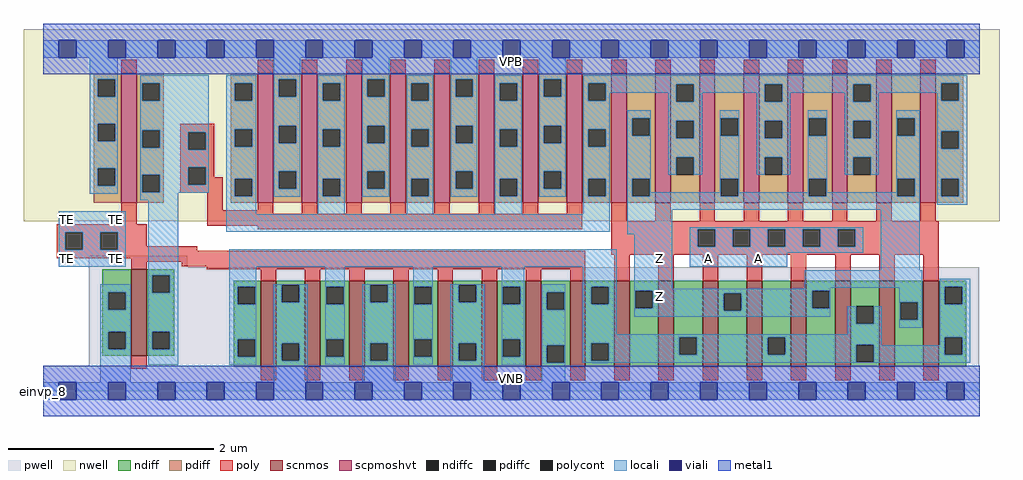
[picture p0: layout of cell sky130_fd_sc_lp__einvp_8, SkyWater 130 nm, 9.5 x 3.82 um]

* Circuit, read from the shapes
.subckt sky130_fd_sc_lp__einvp_8 A TE VGND VNB VPB VPWR Z
XM1 n1 TE VGND VNB sky130_fd_pr__nfet_01v8 w=0.84 l=0.15
XM2 VGND TE n2 VNB sky130_fd_pr__nfet_01v8 w=0.84 l=0.15 m=8
XM3 Z A n2 VNB sky130_fd_pr__nfet_01v8 w=0.84 l=0.15 m=8
XM4 n1 TE VPWR VPB sky130_fd_pr__pfet_01v8_hvt w=1.26 l=0.15
XM5 VPWR n1 n3 VPB sky130_fd_pr__pfet_01v8_hvt w=1.26 l=0.15 m=8
XM6 Z A n3 VPB sky130_fd_pr__pfet_01v8_hvt w=1.26 l=0.15 m=8
.ends

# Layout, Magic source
magic
tech sky130A
magscale 1 2
<< nwell >>
rect -38 331 1862 704
<< pwell >>
rect 89 241 281 263
rect 89 49 1823 241
rect 0 0 1824 49
<< scnmos >>
rect 172 69 202 237
rect 424 47 454 215
rect 510 47 540 215
rect 596 47 626 215
rect 682 47 712 215
rect 768 47 798 215
rect 854 47 884 215
rect 940 47 970 215
rect 1026 47 1056 215
rect 1112 47 1142 215
rect 1198 47 1228 215
rect 1284 47 1314 215
rect 1370 47 1400 215
rect 1456 47 1486 215
rect 1542 47 1572 215
rect 1628 47 1658 215
rect 1714 47 1744 215
<< scpmoshvt >>
rect 152 367 182 619
rect 418 367 448 619
rect 504 367 534 619
rect 590 367 620 619
rect 676 367 706 619
rect 762 367 792 619
rect 848 367 878 619
rect 934 367 964 619
rect 1020 367 1050 619
rect 1106 367 1136 619
rect 1192 367 1222 619
rect 1278 367 1308 619
rect 1364 367 1394 619
rect 1450 367 1480 619
rect 1536 367 1566 619
rect 1622 367 1652 619
rect 1708 367 1738 619
<< ndiff >>
rect 115 192 172 237
rect 115 158 127 192
rect 161 158 172 192
rect 115 115 172 158
rect 115 81 127 115
rect 161 81 172 115
rect 115 69 172 81
rect 202 225 255 237
rect 202 191 213 225
rect 247 191 255 225
rect 202 115 255 191
rect 202 81 213 115
rect 247 81 255 115
rect 202 69 255 81
rect 371 203 424 215
rect 371 169 379 203
rect 413 169 424 203
rect 371 101 424 169
rect 371 67 379 101
rect 413 67 424 101
rect 371 47 424 67
rect 454 207 510 215
rect 454 173 465 207
rect 499 173 510 207
rect 454 93 510 173
rect 454 59 465 93
rect 499 59 510 93
rect 454 47 510 59
rect 540 203 596 215
rect 540 169 551 203
rect 585 169 596 203
rect 540 101 596 169
rect 540 67 551 101
rect 585 67 596 101
rect 540 47 596 67
rect 626 207 682 215
rect 626 173 637 207
rect 671 173 682 207
rect 626 93 682 173
rect 626 59 637 93
rect 671 59 682 93
rect 626 47 682 59
rect 712 203 768 215
rect 712 169 723 203
rect 757 169 768 203
rect 712 101 768 169
rect 712 67 723 101
rect 757 67 768 101
rect 712 47 768 67
rect 798 207 854 215
rect 798 173 809 207
rect 843 173 854 207
rect 798 93 854 173
rect 798 59 809 93
rect 843 59 854 93
rect 798 47 854 59
rect 884 203 940 215
rect 884 169 895 203
rect 929 169 940 203
rect 884 101 940 169
rect 884 67 895 101
rect 929 67 940 101
rect 884 47 940 67
rect 970 192 1026 215
rect 970 158 981 192
rect 1015 158 1026 192
rect 970 89 1026 158
rect 970 55 981 89
rect 1015 55 1026 89
rect 970 47 1026 55
rect 1056 203 1112 215
rect 1056 169 1067 203
rect 1101 169 1112 203
rect 1056 93 1112 169
rect 1056 59 1067 93
rect 1101 59 1112 93
rect 1056 47 1112 59
rect 1142 195 1198 215
rect 1142 161 1153 195
rect 1187 161 1198 195
rect 1142 47 1198 161
rect 1228 105 1284 215
rect 1228 71 1239 105
rect 1273 71 1284 105
rect 1228 47 1284 71
rect 1314 190 1370 215
rect 1314 156 1325 190
rect 1359 156 1370 190
rect 1314 47 1370 156
rect 1400 105 1456 215
rect 1400 71 1411 105
rect 1445 71 1456 105
rect 1400 47 1456 71
rect 1486 195 1542 215
rect 1486 161 1497 195
rect 1531 161 1542 195
rect 1486 47 1542 161
rect 1572 165 1628 215
rect 1572 131 1583 165
rect 1617 131 1628 165
rect 1572 90 1628 131
rect 1572 56 1583 90
rect 1617 56 1628 90
rect 1572 47 1628 56
rect 1658 173 1714 215
rect 1658 139 1669 173
rect 1703 139 1714 173
rect 1658 47 1714 139
rect 1744 203 1797 215
rect 1744 169 1755 203
rect 1789 169 1797 203
rect 1744 105 1797 169
rect 1744 71 1755 105
rect 1789 71 1797 105
rect 1744 47 1797 71
<< pdiff >>
rect 99 607 152 619
rect 99 573 107 607
rect 141 573 152 607
rect 99 520 152 573
rect 99 486 107 520
rect 141 486 152 520
rect 99 434 152 486
rect 99 400 107 434
rect 141 400 152 434
rect 99 367 152 400
rect 182 599 235 619
rect 182 565 193 599
rect 227 565 235 599
rect 182 508 235 565
rect 365 599 418 619
rect 365 565 373 599
rect 407 565 418 599
rect 182 474 193 508
rect 227 474 235 508
rect 182 421 235 474
rect 182 387 193 421
rect 227 387 235 421
rect 182 367 235 387
rect 365 510 418 565
rect 365 476 373 510
rect 407 476 418 510
rect 365 413 418 476
rect 365 379 373 413
rect 407 379 418 413
rect 365 367 418 379
rect 448 607 504 619
rect 448 573 459 607
rect 493 573 504 607
rect 448 516 504 573
rect 448 482 459 516
rect 493 482 504 516
rect 448 428 504 482
rect 448 394 459 428
rect 493 394 504 428
rect 448 367 504 394
rect 534 599 590 619
rect 534 565 545 599
rect 579 565 590 599
rect 534 510 590 565
rect 534 476 545 510
rect 579 476 590 510
rect 534 413 590 476
rect 534 379 545 413
rect 579 379 590 413
rect 534 367 590 379
rect 620 607 676 619
rect 620 573 631 607
rect 665 573 676 607
rect 620 516 676 573
rect 620 482 631 516
rect 665 482 676 516
rect 620 428 676 482
rect 620 394 631 428
rect 665 394 676 428
rect 620 367 676 394
rect 706 599 762 619
rect 706 565 717 599
rect 751 565 762 599
rect 706 510 762 565
rect 706 476 717 510
rect 751 476 762 510
rect 706 413 762 476
rect 706 379 717 413
rect 751 379 762 413
rect 706 367 762 379
rect 792 607 848 619
rect 792 573 803 607
rect 837 573 848 607
rect 792 516 848 573
rect 792 482 803 516
rect 837 482 848 516
rect 792 428 848 482
rect 792 394 803 428
rect 837 394 848 428
rect 792 367 848 394
rect 878 599 934 619
rect 878 565 889 599
rect 923 565 934 599
rect 878 510 934 565
rect 878 476 889 510
rect 923 476 934 510
rect 878 413 934 476
rect 878 379 889 413
rect 923 379 934 413
rect 878 367 934 379
rect 964 607 1020 619
rect 964 573 975 607
rect 1009 573 1020 607
rect 964 516 1020 573
rect 964 482 975 516
rect 1009 482 1020 516
rect 964 428 1020 482
rect 964 394 975 428
rect 1009 394 1020 428
rect 964 367 1020 394
rect 1050 599 1106 619
rect 1050 565 1061 599
rect 1095 565 1106 599
rect 1050 510 1106 565
rect 1050 476 1061 510
rect 1095 476 1106 510
rect 1050 413 1106 476
rect 1050 379 1061 413
rect 1095 379 1106 413
rect 1050 367 1106 379
rect 1136 531 1192 619
rect 1136 497 1147 531
rect 1181 497 1192 531
rect 1136 413 1192 497
rect 1136 379 1147 413
rect 1181 379 1192 413
rect 1136 367 1192 379
rect 1222 597 1278 619
rect 1222 563 1233 597
rect 1267 563 1278 597
rect 1222 526 1278 563
rect 1222 492 1233 526
rect 1267 492 1278 526
rect 1222 455 1278 492
rect 1222 421 1233 455
rect 1267 421 1278 455
rect 1222 367 1278 421
rect 1308 531 1364 619
rect 1308 497 1319 531
rect 1353 497 1364 531
rect 1308 413 1364 497
rect 1308 379 1319 413
rect 1353 379 1364 413
rect 1308 367 1364 379
rect 1394 597 1450 619
rect 1394 563 1405 597
rect 1439 563 1450 597
rect 1394 526 1450 563
rect 1394 492 1405 526
rect 1439 492 1450 526
rect 1394 455 1450 492
rect 1394 421 1405 455
rect 1439 421 1450 455
rect 1394 367 1450 421
rect 1480 531 1536 619
rect 1480 497 1491 531
rect 1525 497 1536 531
rect 1480 413 1536 497
rect 1480 379 1491 413
rect 1525 379 1536 413
rect 1480 367 1536 379
rect 1566 597 1622 619
rect 1566 563 1577 597
rect 1611 563 1622 597
rect 1566 526 1622 563
rect 1566 492 1577 526
rect 1611 492 1622 526
rect 1566 455 1622 492
rect 1566 421 1577 455
rect 1611 421 1622 455
rect 1566 367 1622 421
rect 1652 531 1708 619
rect 1652 497 1663 531
rect 1697 497 1708 531
rect 1652 413 1708 497
rect 1652 379 1663 413
rect 1697 379 1708 413
rect 1652 367 1708 379
rect 1738 599 1791 619
rect 1738 565 1749 599
rect 1783 565 1791 599
rect 1738 506 1791 565
rect 1738 472 1749 506
rect 1783 472 1791 506
rect 1738 413 1791 472
rect 1738 379 1749 413
rect 1783 379 1791 413
rect 1738 367 1791 379
<< ndiffc >>
rect 127 158 161 192
rect 127 81 161 115
rect 213 191 247 225
rect 213 81 247 115
rect 379 169 413 203
rect 379 67 413 101
rect 465 173 499 207
rect 465 59 499 93
rect 551 169 585 203
rect 551 67 585 101
rect 637 173 671 207
rect 637 59 671 93
rect 723 169 757 203
rect 723 67 757 101
rect 809 173 843 207
rect 809 59 843 93
rect 895 169 929 203
rect 895 67 929 101
rect 981 158 1015 192
rect 981 55 1015 89
rect 1067 169 1101 203
rect 1067 59 1101 93
rect 1153 161 1187 195
rect 1239 71 1273 105
rect 1325 156 1359 190
rect 1411 71 1445 105
rect 1497 161 1531 195
rect 1583 131 1617 165
rect 1583 56 1617 90
rect 1669 139 1703 173
rect 1755 169 1789 203
rect 1755 71 1789 105
<< pdiffc >>
rect 107 573 141 607
rect 107 486 141 520
rect 107 400 141 434
rect 193 565 227 599
rect 373 565 407 599
rect 193 474 227 508
rect 193 387 227 421
rect 373 476 407 510
rect 373 379 407 413
rect 459 573 493 607
rect 459 482 493 516
rect 459 394 493 428
rect 545 565 579 599
rect 545 476 579 510
rect 545 379 579 413
rect 631 573 665 607
rect 631 482 665 516
rect 631 394 665 428
rect 717 565 751 599
rect 717 476 751 510
rect 717 379 751 413
rect 803 573 837 607
rect 803 482 837 516
rect 803 394 837 428
rect 889 565 923 599
rect 889 476 923 510
rect 889 379 923 413
rect 975 573 1009 607
rect 975 482 1009 516
rect 975 394 1009 428
rect 1061 565 1095 599
rect 1061 476 1095 510
rect 1061 379 1095 413
rect 1147 497 1181 531
rect 1147 379 1181 413
rect 1233 563 1267 597
rect 1233 492 1267 526
rect 1233 421 1267 455
rect 1319 497 1353 531
rect 1319 379 1353 413
rect 1405 563 1439 597
rect 1405 492 1439 526
rect 1405 421 1439 455
rect 1491 497 1525 531
rect 1491 379 1525 413
rect 1577 563 1611 597
rect 1577 492 1611 526
rect 1577 421 1611 455
rect 1663 497 1697 531
rect 1663 379 1697 413
rect 1749 565 1783 599
rect 1749 472 1783 506
rect 1749 379 1783 413
<< poly >>
rect 152 619 182 645
rect 418 619 448 645
rect 504 619 534 645
rect 590 619 620 645
rect 676 619 706 645
rect 762 619 792 645
rect 848 619 878 645
rect 934 619 964 645
rect 1020 619 1050 645
rect 1106 619 1136 645
rect 1192 619 1222 645
rect 1278 619 1308 645
rect 1364 619 1394 645
rect 1450 619 1480 645
rect 1536 619 1566 645
rect 1622 619 1652 645
rect 1708 619 1738 645
rect 267 504 333 520
rect 267 470 283 504
rect 317 470 333 504
rect 267 436 333 470
rect 267 402 283 436
rect 317 416 333 436
rect 317 402 350 416
rect 267 386 350 402
rect 152 325 182 367
rect 320 352 350 386
rect 418 352 448 367
rect 320 345 448 352
rect 504 345 534 367
rect 590 345 620 367
rect 676 345 706 367
rect 762 345 792 367
rect 848 345 878 367
rect 934 345 964 367
rect 1020 345 1050 367
rect 27 309 202 325
rect 320 322 1050 345
rect 418 315 1050 322
rect 1106 331 1136 367
rect 1192 331 1222 367
rect 1278 331 1308 367
rect 1364 331 1394 367
rect 1450 331 1480 367
rect 1536 331 1566 367
rect 1622 331 1652 367
rect 1708 331 1738 367
rect 1106 315 1744 331
rect 27 275 43 309
rect 77 275 111 309
rect 145 282 202 309
rect 145 275 300 282
rect 27 273 300 275
rect 1106 281 1275 315
rect 1309 281 1343 315
rect 1377 281 1411 315
rect 1445 281 1479 315
rect 1513 281 1547 315
rect 1581 281 1744 315
rect 27 259 1056 273
rect 1106 265 1744 281
rect 172 252 1056 259
rect 172 237 202 252
rect 270 243 1056 252
rect 319 237 1056 243
rect 424 215 454 237
rect 510 215 540 237
rect 596 215 626 237
rect 682 215 712 237
rect 768 215 798 237
rect 854 215 884 237
rect 940 215 970 237
rect 1026 215 1056 237
rect 1112 215 1142 265
rect 1198 215 1228 265
rect 1284 215 1314 265
rect 1370 215 1400 265
rect 1456 215 1486 265
rect 1542 215 1572 265
rect 1628 215 1658 265
rect 1714 215 1744 265
rect 172 43 202 69
rect 424 21 454 47
rect 510 21 540 47
rect 596 21 626 47
rect 682 21 712 47
rect 768 21 798 47
rect 854 21 884 47
rect 940 21 970 47
rect 1026 21 1056 47
rect 1112 21 1142 47
rect 1198 21 1228 47
rect 1284 21 1314 47
rect 1370 21 1400 47
rect 1456 21 1486 47
rect 1542 21 1572 47
rect 1628 21 1658 47
rect 1714 21 1744 47
<< polycont >>
rect 283 470 317 504
rect 283 402 317 436
rect 43 275 77 309
rect 111 275 145 309
rect 1275 281 1309 315
rect 1343 281 1377 315
rect 1411 281 1445 315
rect 1479 281 1513 315
rect 1547 281 1581 315
<< locali >>
rect 0 649 31 683
rect 65 649 127 683
rect 161 649 223 683
rect 257 649 319 683
rect 353 649 415 683
rect 449 649 511 683
rect 545 649 607 683
rect 641 649 703 683
rect 737 649 799 683
rect 833 649 895 683
rect 929 649 991 683
rect 1025 649 1087 683
rect 1121 649 1183 683
rect 1217 649 1279 683
rect 1313 649 1375 683
rect 1409 649 1471 683
rect 1505 649 1567 683
rect 1601 649 1663 683
rect 1697 649 1759 683
rect 1793 649 1824 683
rect 91 607 145 649
rect 91 573 107 607
rect 141 573 145 607
rect 91 520 145 573
rect 91 486 107 520
rect 141 486 145 520
rect 91 434 145 486
rect 91 400 107 434
rect 141 400 145 434
rect 91 384 145 400
rect 189 599 323 615
rect 189 565 193 599
rect 227 565 323 599
rect 189 508 323 565
rect 189 474 193 508
rect 227 504 323 508
rect 227 474 283 504
rect 189 470 283 474
rect 317 470 323 504
rect 189 436 323 470
rect 189 421 283 436
rect 189 387 193 421
rect 227 402 283 421
rect 317 402 323 436
rect 227 387 323 402
rect 189 386 323 387
rect 357 599 415 615
rect 357 565 373 599
rect 407 565 415 599
rect 357 510 415 565
rect 357 476 373 510
rect 407 476 415 510
rect 357 413 415 476
rect 189 371 263 386
rect 31 309 161 350
rect 31 275 43 309
rect 77 275 111 309
rect 145 275 161 309
rect 31 242 161 275
rect 205 225 263 371
rect 357 379 373 413
rect 407 379 415 413
rect 357 344 415 379
rect 449 607 501 649
rect 449 573 459 607
rect 493 573 501 607
rect 449 516 501 573
rect 449 482 459 516
rect 493 482 501 516
rect 449 428 501 482
rect 449 394 459 428
rect 493 394 501 428
rect 449 378 501 394
rect 535 599 587 615
rect 535 565 545 599
rect 579 565 587 599
rect 535 510 587 565
rect 535 476 545 510
rect 579 476 587 510
rect 535 413 587 476
rect 535 379 545 413
rect 579 379 587 413
rect 535 344 587 379
rect 621 607 674 649
rect 621 573 631 607
rect 665 573 674 607
rect 621 516 674 573
rect 621 482 631 516
rect 665 482 674 516
rect 621 428 674 482
rect 621 394 631 428
rect 665 394 674 428
rect 621 378 674 394
rect 708 599 760 615
rect 708 565 717 599
rect 751 565 760 599
rect 708 510 760 565
rect 708 476 717 510
rect 751 476 760 510
rect 708 413 760 476
rect 708 379 717 413
rect 751 379 760 413
rect 708 344 760 379
rect 794 607 845 649
rect 794 573 803 607
rect 837 573 845 607
rect 794 516 845 573
rect 794 482 803 516
rect 837 482 845 516
rect 794 428 845 482
rect 794 394 803 428
rect 837 394 845 428
rect 794 378 845 394
rect 879 599 932 615
rect 879 565 889 599
rect 923 565 932 599
rect 879 510 932 565
rect 879 476 889 510
rect 923 476 932 510
rect 879 413 932 476
rect 879 379 889 413
rect 923 379 932 413
rect 879 344 932 379
rect 966 607 1018 649
rect 966 573 975 607
rect 1009 573 1018 607
rect 966 516 1018 573
rect 966 482 975 516
rect 1009 482 1018 516
rect 966 428 1018 482
rect 966 394 975 428
rect 1009 394 1018 428
rect 966 378 1018 394
rect 1052 599 1799 615
rect 1052 565 1061 599
rect 1095 597 1749 599
rect 1095 581 1233 597
rect 1095 565 1103 581
rect 1052 510 1103 565
rect 1217 563 1233 581
rect 1267 581 1405 597
rect 1267 563 1283 581
rect 1052 476 1061 510
rect 1095 476 1103 510
rect 1052 413 1103 476
rect 1052 379 1061 413
rect 1095 379 1103 413
rect 1052 344 1103 379
rect 357 310 1103 344
rect 1137 531 1183 547
rect 1137 497 1147 531
rect 1181 497 1183 531
rect 1137 413 1183 497
rect 1217 526 1283 563
rect 1389 563 1405 581
rect 1439 581 1577 597
rect 1439 563 1455 581
rect 1217 492 1233 526
rect 1267 492 1283 526
rect 1217 455 1283 492
rect 1217 421 1233 455
rect 1267 421 1283 455
rect 1317 531 1355 547
rect 1317 497 1319 531
rect 1353 497 1355 531
rect 1137 379 1147 413
rect 1181 387 1183 413
rect 1317 413 1355 497
rect 1389 526 1455 563
rect 1561 563 1577 581
rect 1611 581 1749 597
rect 1611 563 1627 581
rect 1389 492 1405 526
rect 1439 492 1455 526
rect 1389 455 1455 492
rect 1389 421 1405 455
rect 1439 421 1455 455
rect 1489 531 1527 547
rect 1489 497 1491 531
rect 1525 497 1527 531
rect 1317 387 1319 413
rect 1181 379 1319 387
rect 1353 387 1355 413
rect 1489 413 1527 497
rect 1561 526 1627 563
rect 1741 565 1749 581
rect 1783 565 1799 599
rect 1561 492 1577 526
rect 1611 492 1627 526
rect 1561 455 1627 492
rect 1561 421 1577 455
rect 1611 421 1627 455
rect 1661 531 1707 547
rect 1661 497 1663 531
rect 1697 497 1707 531
rect 1489 387 1491 413
rect 1353 379 1491 387
rect 1525 387 1527 413
rect 1661 413 1707 497
rect 1661 387 1663 413
rect 1525 379 1663 387
rect 1697 379 1707 413
rect 1137 353 1707 379
rect 1741 506 1799 565
rect 1741 472 1749 506
rect 1783 472 1799 506
rect 1741 413 1799 472
rect 1741 379 1749 413
rect 1783 379 1799 413
rect 1741 363 1799 379
rect 1137 305 1225 353
rect 111 192 171 208
rect 111 158 127 192
rect 161 158 171 192
rect 111 115 171 158
rect 111 81 127 115
rect 161 81 171 115
rect 111 17 171 81
rect 205 191 213 225
rect 247 191 263 225
rect 205 115 263 191
rect 205 81 213 115
rect 247 81 263 115
rect 205 51 263 81
rect 363 242 1117 276
rect 363 203 415 242
rect 363 169 379 203
rect 413 169 415 203
rect 363 101 415 169
rect 363 67 379 101
rect 413 67 415 101
rect 363 51 415 67
rect 449 207 515 208
rect 449 173 465 207
rect 499 173 515 207
rect 449 93 515 173
rect 449 59 465 93
rect 499 59 515 93
rect 449 17 515 59
rect 549 203 587 242
rect 549 169 551 203
rect 585 169 587 203
rect 549 101 587 169
rect 549 67 551 101
rect 585 67 587 101
rect 549 51 587 67
rect 621 207 687 208
rect 621 173 637 207
rect 671 173 687 207
rect 621 93 687 173
rect 621 59 637 93
rect 671 59 687 93
rect 621 17 687 59
rect 721 203 759 242
rect 721 169 723 203
rect 757 169 759 203
rect 721 101 759 169
rect 721 67 723 101
rect 757 67 759 101
rect 721 51 759 67
rect 793 207 859 208
rect 793 173 809 207
rect 843 173 859 207
rect 793 93 859 173
rect 793 59 809 93
rect 843 59 859 93
rect 793 17 859 59
rect 893 203 937 242
rect 893 169 895 203
rect 929 169 937 203
rect 893 101 937 169
rect 893 67 895 101
rect 929 67 937 101
rect 893 51 937 67
rect 971 192 1017 208
rect 971 158 981 192
rect 1015 158 1017 192
rect 971 89 1017 158
rect 971 55 981 89
rect 1015 55 1017 89
rect 1051 203 1117 242
rect 1051 169 1067 203
rect 1101 169 1117 203
rect 1051 111 1117 169
rect 1151 199 1225 305
rect 1259 315 1597 319
rect 1259 281 1275 315
rect 1309 281 1343 315
rect 1377 281 1411 315
rect 1445 281 1479 315
rect 1513 281 1547 315
rect 1581 281 1597 315
rect 1259 269 1597 281
rect 1259 242 1449 269
rect 1631 235 1707 353
rect 1483 201 1712 235
rect 1483 199 1533 201
rect 1151 195 1533 199
rect 1151 161 1153 195
rect 1187 190 1497 195
rect 1187 161 1325 190
rect 1151 156 1325 161
rect 1359 161 1497 190
rect 1531 161 1533 195
rect 1667 173 1712 201
rect 1359 156 1533 161
rect 1151 145 1533 156
rect 1567 131 1583 165
rect 1617 131 1633 165
rect 1567 111 1633 131
rect 1667 139 1669 173
rect 1703 139 1712 173
rect 1667 123 1712 139
rect 1746 203 1805 219
rect 1746 169 1755 203
rect 1789 169 1805 203
rect 1051 105 1633 111
rect 1051 93 1239 105
rect 1051 59 1067 93
rect 1101 71 1239 93
rect 1273 71 1411 105
rect 1445 90 1633 105
rect 1445 71 1583 90
rect 1101 59 1583 71
rect 1051 56 1583 59
rect 1617 89 1633 90
rect 1746 105 1805 169
rect 1746 89 1755 105
rect 1617 71 1755 89
rect 1789 71 1805 105
rect 1617 56 1805 71
rect 1051 55 1805 56
rect 971 17 1017 55
rect 0 -17 31 17
rect 65 -17 127 17
rect 161 -17 223 17
rect 257 -17 319 17
rect 353 -17 415 17
rect 449 -17 511 17
rect 545 -17 607 17
rect 641 -17 703 17
rect 737 -17 799 17
rect 833 -17 895 17
rect 929 -17 991 17
rect 1025 -17 1087 17
rect 1121 -17 1183 17
rect 1217 -17 1279 17
rect 1313 -17 1375 17
rect 1409 -17 1471 17
rect 1505 -17 1567 17
rect 1601 -17 1663 17
rect 1697 -17 1759 17
rect 1793 -17 1824 17
<< viali >>
rect 31 649 65 683
rect 127 649 161 683
rect 223 649 257 683
rect 319 649 353 683
rect 415 649 449 683
rect 511 649 545 683
rect 607 649 641 683
rect 703 649 737 683
rect 799 649 833 683
rect 895 649 929 683
rect 991 649 1025 683
rect 1087 649 1121 683
rect 1183 649 1217 683
rect 1279 649 1313 683
rect 1375 649 1409 683
rect 1471 649 1505 683
rect 1567 649 1601 683
rect 1663 649 1697 683
rect 1759 649 1793 683
rect 31 -17 65 17
rect 127 -17 161 17
rect 223 -17 257 17
rect 319 -17 353 17
rect 415 -17 449 17
rect 511 -17 545 17
rect 607 -17 641 17
rect 703 -17 737 17
rect 799 -17 833 17
rect 895 -17 929 17
rect 991 -17 1025 17
rect 1087 -17 1121 17
rect 1183 -17 1217 17
rect 1279 -17 1313 17
rect 1375 -17 1409 17
rect 1471 -17 1505 17
rect 1567 -17 1601 17
rect 1663 -17 1697 17
rect 1759 -17 1793 17
<< metal1 >>
rect 0 683 1824 715
rect 0 649 31 683
rect 65 649 127 683
rect 161 649 223 683
rect 257 649 319 683
rect 353 649 415 683
rect 449 649 511 683
rect 545 649 607 683
rect 641 649 703 683
rect 737 649 799 683
rect 833 649 895 683
rect 929 649 991 683
rect 1025 649 1087 683
rect 1121 649 1183 683
rect 1217 649 1279 683
rect 1313 649 1375 683
rect 1409 649 1471 683
rect 1505 649 1567 683
rect 1601 649 1663 683
rect 1697 649 1759 683
rect 1793 649 1824 683
rect 0 617 1824 649
rect 0 17 1824 49
rect 0 -17 31 17
rect 65 -17 127 17
rect 161 -17 223 17
rect 257 -17 319 17
rect 353 -17 415 17
rect 449 -17 511 17
rect 545 -17 607 17
rect 641 -17 703 17
rect 737 -17 799 17
rect 833 -17 895 17
rect 929 -17 991 17
rect 1025 -17 1087 17
rect 1121 -17 1183 17
rect 1217 -17 1279 17
rect 1313 -17 1375 17
rect 1409 -17 1471 17
rect 1505 -17 1567 17
rect 1601 -17 1663 17
rect 1697 -17 1759 17
rect 1793 -17 1824 17
rect 0 -49 1824 -17
<< labels >>
flabel pwell s 0 0 1824 49 0 FreeSans 200 0 0 0 VNB
port 4 nsew ground bidirectional
flabel nwell s 0 617 1824 666 0 FreeSans 200 0 0 0 VPB
port 5 nsew power bidirectional
rlabel comment s 0 0 0 0 4 einvp_8
flabel metal1 s 0 617 1824 666 0 FreeSans 340 0 0 0 VPWR
port 6 nsew power bidirectional
flabel metal1 s 0 0 1824 49 0 FreeSans 340 0 0 0 VGND
port 3 nsew ground bidirectional
flabel locali s 1183 168 1217 202 0 FreeSans 340 0 0 0 Z
port 7 nsew signal output
flabel locali s 1183 242 1217 276 0 FreeSans 340 0 0 0 Z
port 7 nsew signal output
flabel locali s 1375 242 1409 276 0 FreeSans 340 0 0 0 A
port 1 nsew signal input
flabel locali s 31 242 65 276 0 FreeSans 340 0 0 0 TE
port 2 nsew signal input
flabel locali s 31 316 65 350 0 FreeSans 340 0 0 0 TE
port 2 nsew signal input
flabel locali s 127 242 161 276 0 FreeSans 340 0 0 0 TE
port 2 nsew signal input
flabel locali s 127 316 161 350 0 FreeSans 340 0 0 0 TE
port 2 nsew signal input
flabel locali s 1279 242 1313 276 0 FreeSans 340 0 0 0 A
port 1 nsew signal input
<< properties >>
string LEFsite unit
string LEFclass CORE
string FIXED_BBOX 0 0 1824 666
string GDS_FILE $PDKPATH/libs.ref/sky130_fd_sc_lp/gds/sky130_fd_sc_lp.gds
string LEFsymmetry X Y R90
string GDS_END 3037230
string GDS_START 3023296
<< end >>
